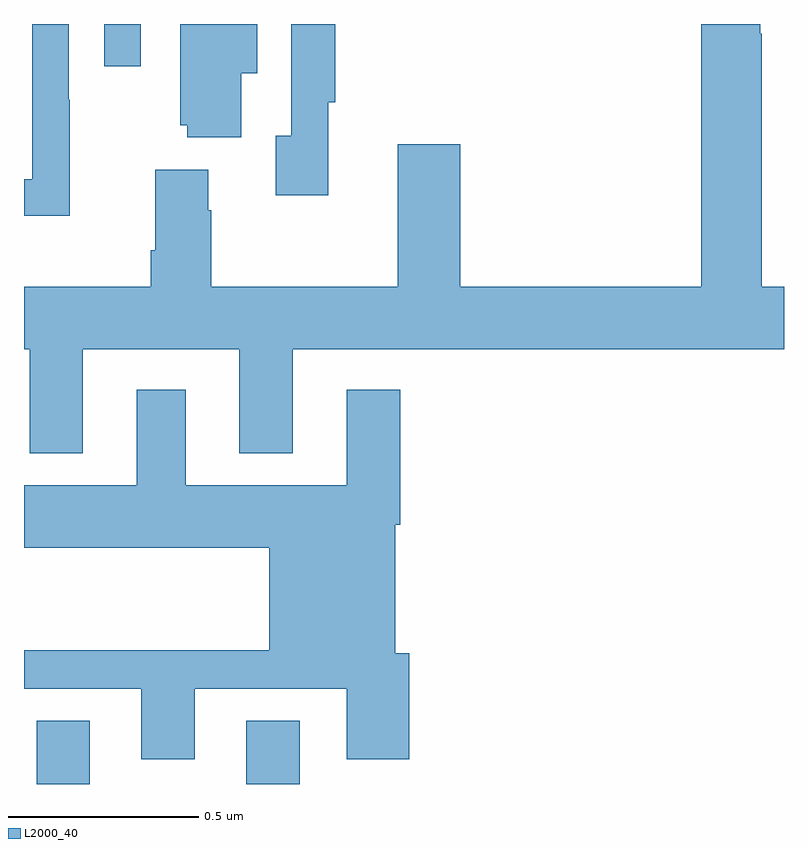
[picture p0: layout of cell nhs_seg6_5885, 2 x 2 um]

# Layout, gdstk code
import gdstk
lib = gdstk.Library(unit=1e-6, precision=1e-09)
def R(c, l, rs):  # rectangles x0, y0, x1, y1
    for r in rs: c.add(gdstk.rectangle(r[:2], r[2:], *l))
def P(c, l, *ps):  # polygons
    for p in ps: c.add(gdstk.Polygon(p, *l))
L2000_40 = (2000, 40)

nhs_seg6_5885 = lib.new_cell('nhs_seg6_5885')
R(nhs_seg6_5885, L2000_40, [(188.033,971.5,188.173,971.666), (188.585,971.5,188.725,971.666), (188.211,973.389,188.307,973.5)])
P(nhs_seg6_5885, L2000_40, [(188.155,972.644),(188.567,972.644),(188.567,972.371),(188.707,972.371),(188.707,972.644),(190,972.644),(190,972.808),(189.942,972.808),(189.942,973.475),(189.937,973.475),(189.937,973.5),(189.782,973.5),(189.782,972.808),(189.148,972.808),(189.148,973.183),(188.984,973.183),(188.984,972.808),(188.493,972.808),(188.493,973.01),(188.485,973.01),(188.485,973.117),(188.345,973.117),(188.345,972.904),(188.333,972.904),(188.333,972.808),(188,972.808),(188,972.644),(188.015,972.644),(188.015,972.371),(188.155,972.371)],
  [(188.572,973.37),(188.614,973.37),(188.614,973.5),(188.411,973.5),(188.411,973.233),(188.429,973.233),(188.429,973.202),(188.572,973.202)],
  [(188.801,973.294),(188.819,973.294),(188.819,973.5),(188.703,973.5),(188.703,973.206),(188.663,973.206),(188.663,973.05),(188.801,973.05)],
  [(188.121,973.301),(188.118,973.301),(188.118,973.5),(188.022,973.5),(188.022,973.092),(188,973.092),(188,972.995),(188.121,972.995)],
  [(188.449,971.751),(188.849,971.751),(188.849,971.565),(189.014,971.565),(189.014,971.844),(188.977,971.844),(188.977,972.182),(188.99,972.182),(188.99,972.538),(188.849,972.538),(188.849,972.286),(188.425,972.286),(188.425,972.538),(188.297,972.538),(188.297,972.286),(188,972.286),(188,972.122),(188.645,972.122),(188.645,971.852),(188,971.852),(188,971.751),(188.309,971.751),(188.309,971.565),(188.449,971.565)])

lib.write_gds('nhs_seg6_5885.gds')
